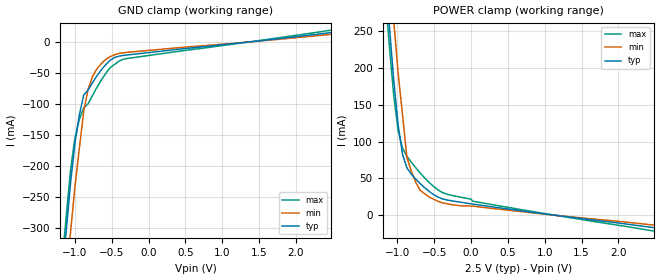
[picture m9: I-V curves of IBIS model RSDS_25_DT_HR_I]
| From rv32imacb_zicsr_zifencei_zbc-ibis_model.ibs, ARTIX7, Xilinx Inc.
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[Model]  RSDS_25_DT_HR_I
Model_type Input
Polarity   Non-Inverting
Enable   Active-Low
Vinl =   0.8500V
Vinh =   0.9500V
C_comp   6.5400pF   6.2100pF   7.2300pF
[Temperature Range]   25.0000   85.0000   0.0
[Voltage Range]   2.5000V   2.3750V   2.6250V
[GND_clamp]
|Voltage   I(typ)   I(min)   I(max)
-2.5V     -2.371A    -2.44A     -2.346A
-1.18V    -390.1mA   -473.7mA   -363.6mA
-1.12V    -308mA     -390mA     -283.8mA
-1.06V    -228.5mA   -307.6mA   -207.7mA
-1V       -163.9mA   -234.1mA   -154.9mA
-940mV    -117.6mA   -172.1mA   -124.9mA
-880mV    -85.43mA   -111.5mA   -105.8mA
-820mV    -77.36mA   -75.71mA   -99.54mA
-700mV    -54.42mA   -43.18mA   -72.97mA
-520mV    -29.28mA   -23.57mA   -41.29mA
-340mV    -21.65mA   -17.41mA   -27.61mA
2.48V     15.2mA     12.39mA    19.1mA
[POWER_clamp]
|Voltage   I(typ)   I(min)   I(max)
-2.49V    2.353A     2.422A     2.328A
-1.17V    339.8mA    426.3mA    309.1mA
-1.11V    258.3mA    345mA      230.7mA
-1.05V    183.9mA    264.2mA    162.9mA
-990mV    122.3mA    193.3mA    114.8mA
-930mV    82.3mA     135.7mA    91.03mA
-870mV    64.19mA    78.01mA    79.99mA
-690mV    42.89mA    33.77mA    57.23mA
-570mV    32.46mA    24.81mA    44.54mA
-390mV    22.26mA    16.88mA    30.89mA
20mV      15.2mA     12.39mA    19.1mA
2.48V     -16.83mA   -13.36mA   -21.45mA
